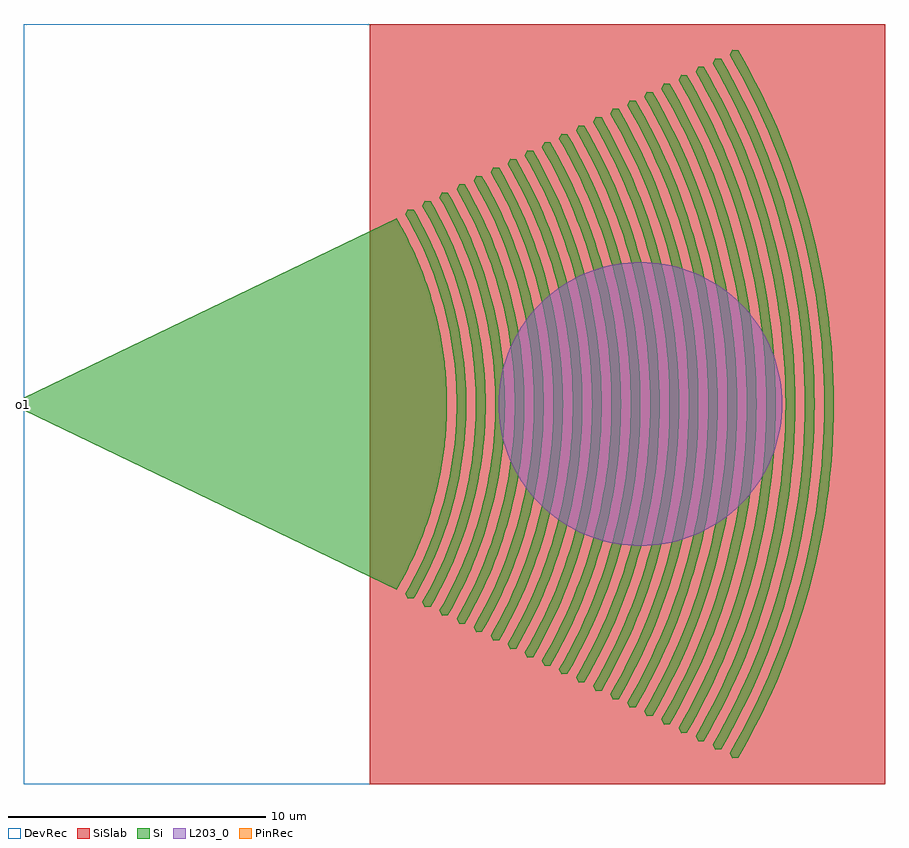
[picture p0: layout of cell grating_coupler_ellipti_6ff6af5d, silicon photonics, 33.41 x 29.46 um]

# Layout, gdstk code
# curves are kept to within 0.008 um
import gdstk
lib = gdstk.Library(unit=1e-6, precision=1e-09)
def R(c, l, rs):  # rectangles x0, y0, x1, y1
    for r in rs: c.add(gdstk.rectangle(r[:2], r[2:], *l))
def P(c, l, *ps):  # polygons
    for p in ps: c.add(gdstk.Polygon(p, *l))
Si = (1, 0)
PinRec = (1, 10)
SiSlab = (2, 0)
DevRec = (68, 0)
L203_0 = (203, 0)

circle_layerte_radius5p5 = lib.new_cell('circle_layerTE_radius5p5')
P(circle_layerte_radius5p5, L203_0, [(5.5,0),(5.495,0.24),(5.453,0.718),(5.37,1.19),(5.245,1.654),(5.081,2.105),(4.879,2.54),(4.639,2.955),(4.505,3.155),(4.213,3.535),(3.889,3.889),(3.535,4.213),(3.155,4.505),(2.955,4.639),(2.54,4.879),(2.105,5.081),(1.654,5.245),(1.19,5.37),(0.718,5.453),(0.24,5.495),(0,5.5),(-0.24,5.495),(-0.718,5.453),(-1.19,5.37),(-1.654,5.245),(-2.105,5.081),(-2.54,4.879),(-2.955,4.639),(-3.155,4.505),(-3.535,4.213),(-3.889,3.889),(-4.213,3.535),(-4.505,3.155),(-4.639,2.955),(-4.879,2.54),(-5.081,2.105),(-5.245,1.654),(-5.37,1.19),(-5.453,0.718),(-5.495,0.24),(-5.5,0),(-5.495,-0.24),(-5.453,-0.718),(-5.37,-1.19),(-5.245,-1.654),(-5.081,-2.105),(-4.879,-2.54),(-4.639,-2.955),(-4.505,-3.155),(-4.213,-3.535),(-3.889,-3.889),(-3.535,-4.213),(-3.155,-4.505),(-2.955,-4.639),(-2.54,-4.879),(-2.105,-5.081),(-1.654,-5.245),(-1.19,-5.37),(-0.718,-5.453),(-0.24,-5.495),(0,-5.5),(0.24,-5.495),(0.718,-5.453),(1.19,-5.37),(1.654,-5.245),(2.105,-5.081),(2.54,-4.879),(2.955,-4.639),(3.155,-4.505),(3.535,-4.213),(3.889,-3.889),(4.213,-3.535),(4.505,-3.155),(4.639,-2.955),(4.879,-2.54),(5.081,-2.105),(5.245,-1.654),(5.37,-1.19),(5.453,-0.718),(5.495,-0.24)])

grating_coupler_ellipti_ = lib.new_cell('grating_coupler_ellipti_6ff6af5d')
P(grating_coupler_ellipti_, Si, [(15.086,-7.552),(14.985,-7.35),(15.238,-6.899),(15.473,-6.443),(15.692,-5.978),(15.894,-5.505),(16.08,-5.027),(16.249,-4.541),(16.4,-4.051),(16.534,-3.555),(16.702,-2.804),(16.792,-2.299),(16.864,-1.791),(16.918,-1.28),(16.955,-0.769),(16.974,0),(16.955,0.769),(16.918,1.28),(16.864,1.791),(16.792,2.299),(16.702,2.804),(16.534,3.555),(16.4,4.051),(16.249,4.541),(16.08,5.027),(15.894,5.505),(15.692,5.978),(15.473,6.443),(15.238,6.899),(14.985,7.35),(15.086,7.552),(15.311,7.536),(15.691,6.844),(15.924,6.371),(16.242,5.647),(16.432,5.155),(16.685,4.407),(16.831,3.902),(16.96,3.392),(17.119,2.618),(17.202,2.098),(17.266,1.576),(17.313,1.051),(17.34,0.527),(17.35,0),(17.34,-0.527),(17.313,-1.051),(17.266,-1.576),(17.202,-2.098),(17.119,-2.618),(16.96,-3.392),(16.831,-3.902),(16.685,-4.407),(16.432,-5.155),(16.242,-5.647),(15.924,-6.371),(15.691,-6.844),(15.311,-7.536)],
  [(15.748,-7.877),(15.647,-7.675),(15.911,-7.205),(16.156,-6.728),(16.385,-6.242),(16.596,-5.749),(16.79,-5.249),(16.966,-4.743),(17.125,-4.23),(17.264,-3.713),(17.44,-2.928),(17.534,-2.4),(17.61,-1.87),(17.666,-1.338),(17.704,-0.803),(17.724,0),(17.704,0.803),(17.666,1.338),(17.61,1.87),(17.534,2.4),(17.44,2.928),(17.264,3.713),(17.125,4.23),(16.966,4.743),(16.79,5.249),(16.596,5.749),(16.385,6.242),(16.156,6.728),(15.911,7.205),(15.647,7.675),(15.748,7.877),(15.973,7.861),(16.241,7.383),(16.492,6.894),(16.727,6.396),(17.045,5.636),(17.235,5.119),(17.485,4.334),(17.628,3.805),(17.753,3.269),(17.859,2.731),(17.946,2.189),(18.013,1.644),(18.061,1.097),(18.09,0.549),(18.1,0),(18.09,-0.549),(18.061,-1.097),(18.013,-1.644),(17.946,-2.189),(17.859,-2.731),(17.753,-3.269),(17.628,-3.805),(17.485,-4.334),(17.235,-5.119),(17.045,-5.636),(16.727,-6.396),(16.492,-6.894),(16.241,-7.383),(15.973,-7.861)],
  [(16.41,-8.201),(16.309,-7.999),(16.584,-7.511),(16.84,-7.013),(17.078,-6.507),(17.298,-5.993),(17.5,-5.471),(17.684,-4.944),(17.849,-4.41),(17.995,-3.87),(18.178,-3.053),(18.276,-2.502),(18.355,-1.95),(18.436,-1.116),(18.466,-0.558),(18.475,0),(18.466,0.558),(18.436,1.116),(18.355,1.95),(18.276,2.502),(18.178,3.053),(17.995,3.87),(17.849,4.41),(17.684,4.944),(17.5,5.471),(17.298,5.993),(17.078,6.507),(16.84,7.013),(16.584,7.511),(16.309,7.999),(16.41,8.201),(16.635,8.187),(16.914,7.687),(17.176,7.179),(17.42,6.661),(17.752,5.869),(17.949,5.332),(18.209,4.514),(18.359,3.962),(18.488,3.405),(18.599,2.844),(18.689,2.28),(18.759,1.712),(18.81,1.142),(18.84,0.572),(18.851,0),(18.84,-0.572),(18.81,-1.142),(18.759,-1.712),(18.689,-2.28),(18.599,-2.844),(18.488,-3.405),(18.359,-3.962),(18.209,-4.514),(17.949,-5.332),(17.752,-5.869),(17.42,-6.661),(17.176,-7.179),(16.914,-7.687),(16.635,-8.187)],
  [(17.072,-8.528),(16.971,-8.326),(17.257,-7.816),(17.523,-7.298),(17.771,-6.771),(18,-6.236),(18.211,-5.694),(18.402,-5.145),(18.574,-4.589),(18.725,-4.027),(18.916,-3.177),(19.018,-2.604),(19.1,-2.029),(19.161,-1.45),(19.202,-0.871),(19.224,0),(19.202,0.871),(19.161,1.45),(19.1,2.029),(19.018,2.604),(18.916,3.177),(18.725,4.027),(18.574,4.589),(18.402,5.145),(18.211,5.694),(18,6.236),(17.771,6.771),(17.523,7.298),(17.257,7.816),(16.971,8.326),(17.072,8.528),(17.297,8.512),(17.587,7.994),(17.859,7.464),(18.233,6.653),(18.458,6.102),(18.663,5.543),(18.934,4.693),(19.089,4.119),(19.224,3.54),(19.339,2.957),(19.433,2.369),(19.505,1.78),(19.558,1.188),(19.589,0.595),(19.6,0),(19.589,-0.595),(19.558,-1.188),(19.505,-1.78),(19.433,-2.369),(19.339,-2.957),(19.224,-3.54),(19.089,-4.119),(18.934,-4.693),(18.663,-5.543),(18.458,-6.102),(18.233,-6.653),(17.859,-7.464),(17.587,-7.994),(17.297,-8.512)],
  [(17.734,-8.853),(17.633,-8.651),(17.93,-8.121),(18.207,-7.583),(18.464,-7.036),(18.702,-6.48),(18.921,-5.916),(19.12,-5.345),(19.298,-4.768),(19.456,-4.185),(19.654,-3.301),(19.76,-2.706),(19.845,-2.108),(19.908,-1.508),(19.951,-0.905),(19.974,0),(19.951,0.905),(19.908,1.508),(19.845,2.108),(19.76,2.706),(19.654,3.301),(19.456,4.185),(19.298,4.768),(19.12,5.345),(18.921,5.916),(18.702,6.48),(18.464,7.036),(18.207,7.583),(17.93,8.121),(17.633,8.651),(17.734,8.853),(17.959,8.837),(18.26,8.299),(18.543,7.749),(18.806,7.19),(19.164,6.335),(19.476,5.463),(19.658,4.872),(19.82,4.277),(19.959,3.675),(20.079,3.07),(20.177,2.46),(20.252,1.848),(20.306,1.233),(20.339,0.617),(20.35,0),(20.339,-0.617),(20.306,-1.233),(20.252,-1.848),(20.177,-2.46),(20.079,-3.07),(19.959,-3.675),(19.82,-4.277),(19.658,-4.872),(19.476,-5.463),(19.164,-6.335),(18.806,-7.19),(18.543,-7.749),(18.26,-8.299),(17.959,-8.837)],
  [(18.396,-9.178),(18.295,-8.976),(18.603,-8.426),(18.89,-7.868),(19.158,-7.301),(19.404,-6.724),(19.632,-6.139),(19.838,-5.546),(20.023,-4.948),(20.186,-4.342),(20.392,-3.425),(20.502,-2.807),(20.59,-2.188),(20.681,-1.252),(20.714,-0.626),(20.724,0),(20.714,0.626),(20.681,1.252),(20.59,2.188),(20.502,2.807),(20.392,3.425),(20.186,4.342),(20.023,4.948),(19.838,5.546),(19.632,6.139),(19.404,6.724),(19.158,7.301),(18.89,7.868),(18.603,8.426),(18.295,8.976),(18.396,9.178),(18.621,9.162),(19.083,8.321),(19.366,7.746),(19.752,6.866),(19.984,6.269),(20.194,5.664),(20.383,5.052),(20.55,4.434),(20.695,3.81),(20.819,3.183),(20.92,2.55),(20.998,1.916),(21.055,1.278),(21.088,0.64),(21.1,0),(21.088,-0.64),(21.055,-1.278),(20.998,-1.916),(20.92,-2.55),(20.819,-3.183),(20.695,-3.81),(20.55,-4.434),(20.383,-5.052),(20.194,-5.664),(19.984,-6.269),(19.752,-6.866),(19.366,-7.746),(19.083,-8.321),(18.621,-9.162)],
  [(19.058,-9.503),(18.957,-9.301),(19.276,-8.732),(19.574,-8.154),(19.851,-7.565),(20.107,-6.967),(20.342,-6.361),(20.556,-5.748),(20.747,-5.127),(20.917,-4.499),(21.13,-3.549),(21.244,-2.909),(21.335,-2.267),(21.403,-1.622),(21.449,-0.973),(21.474,0),(21.449,0.973),(21.403,1.622),(21.335,2.267),(21.244,2.909),(21.13,3.549),(20.917,4.499),(20.747,5.127),(20.556,5.748),(20.342,6.361),(20.107,6.967),(19.851,7.565),(19.574,8.154),(19.276,8.732),(18.957,9.301),(19.058,9.503),(19.283,9.487),(19.761,8.616),(20.054,8.021),(20.326,7.415),(20.577,6.801),(20.806,6.179),(21.107,5.231),(21.281,4.591),(21.431,3.945),(21.559,3.296),(21.664,2.641),(21.745,1.984),(21.803,1.324),(21.838,0.663),(21.85,0),(21.838,-0.663),(21.803,-1.324),(21.745,-1.984),(21.664,-2.641),(21.559,-3.296),(21.431,-3.945),(21.281,-4.591),(21.107,-5.231),(20.912,-5.864),(20.694,-6.491),(20.455,-7.109),(20.054,-8.021),(19.761,-8.616),(19.283,-9.487)],
  [(19.72,-9.829),(19.619,-9.627),(19.949,-9.037),(20.257,-8.439),(20.544,-7.83),(20.809,-7.211),(21.052,-6.584),(21.273,-5.948),(21.472,-5.306),(21.647,-4.657),(21.868,-3.673),(21.986,-3.011),(22.08,-2.346),(22.151,-1.677),(22.199,-1.007),(22.224,0),(22.199,1.007),(22.151,1.677),(22.08,2.346),(21.986,3.011),(21.868,3.673),(21.647,4.657),(21.472,5.306),(21.273,5.948),(21.052,6.584),(20.809,7.211),(20.544,7.83),(20.257,8.439),(19.949,9.037),(19.619,9.627),(19.72,9.829),(19.945,9.813),(20.439,8.911),(20.743,8.295),(21.157,7.353),(21.404,6.714),(21.629,6.066),(21.832,5.41),(22.011,4.749),(22.166,4.081),(22.299,3.409),(22.407,2.731),(22.491,2.052),(22.552,1.369),(22.588,0.685),(22.6,0),(22.588,-0.685),(22.552,-1.369),(22.491,-2.052),(22.407,-2.731),(22.299,-3.409),(22.166,-4.081),(22.011,-4.749),(21.832,-5.41),(21.629,-6.066),(21.404,-6.714),(21.157,-7.353),(20.743,-8.295),(20.439,-8.911),(19.945,-9.813)],
  [(20.382,-10.154),(20.281,-9.952),(20.622,-9.343),(20.941,-8.724),(21.237,-8.094),(21.511,-7.455),(21.763,-6.806),(21.991,-6.15),(22.196,-5.486),(22.378,-4.814),(22.606,-3.797),(22.728,-3.113),(22.825,-2.425),(22.898,-1.734),(22.948,-1.041),(22.974,0),(22.948,1.041),(22.898,1.734),(22.825,2.425),(22.728,3.113),(22.606,3.797),(22.378,4.814),(22.196,5.486),(21.991,6.15),(21.763,6.806),(21.511,7.455),(21.237,8.094),(20.941,8.724),(20.622,9.343),(20.281,9.952),(20.382,10.154),(20.607,10.138),(21.118,9.207),(21.431,8.57),(21.721,7.924),(21.99,7.268),(22.234,6.602),(22.556,5.59),(22.742,4.906),(22.902,4.217),(23.039,3.522),(23.151,2.822),(23.237,2.12),(23.3,1.414),(23.337,0.707),(23.35,0),(23.337,-0.707),(23.3,-1.414),(23.237,-2.12),(23.151,-2.822),(23.039,-3.522),(22.902,-4.217),(22.742,-4.906),(22.556,-5.59),(22.234,-6.602),(21.99,-7.268),(21.721,-7.924),(21.431,-8.57),(21.118,-9.207),(20.607,-10.138)],
  [(21.044,-10.479),(20.943,-10.277),(21.295,-9.648),(21.624,-9.009),(21.93,-8.359),(22.213,-7.699),(22.473,-7.029),(22.709,-6.35),(22.921,-5.665),(23.108,-4.972),(23.344,-3.921),(23.47,-3.215),(23.57,-2.505),(23.646,-1.792),(23.697,-1.075),(23.724,0),(23.697,1.075),(23.646,1.792),(23.57,2.505),(23.47,3.215),(23.344,3.921),(23.108,4.972),(22.921,5.665),(22.709,6.35),(22.473,7.029),(22.213,7.699),(21.93,8.359),(21.624,9.009),(21.295,9.648),(20.943,10.277),(21.044,10.479),(21.269,10.463),(21.796,9.502),(22.12,8.845),(22.419,8.178),(22.696,7.501),(23.065,6.468),(23.281,5.769),(23.472,5.064),(23.638,4.351),(23.779,3.635),(23.895,2.913),(23.984,2.188),(24.048,1.46),(24.087,0.73),(24.1,0),(24.087,-0.73),(24.048,-1.46),(23.984,-2.188),(23.895,-2.913),(23.779,-3.635),(23.638,-4.351),(23.472,-5.064),(23.281,-5.769),(23.065,-6.468),(22.696,-7.501),(22.419,-8.178),(22.12,-8.845),(21.796,-9.502),(21.269,-10.463)],
  [(21.706,-10.804),(21.605,-10.602),(21.968,-9.953),(22.308,-9.294),(22.624,-8.623),(22.915,-7.942),(23.183,-7.251),(23.427,-6.552),(23.645,-5.844),(23.839,-5.129),(24.082,-4.046),(24.211,-3.316),(24.315,-2.584),(24.393,-1.847),(24.446,-1.11),(24.474,0),(24.446,1.11),(24.393,1.847),(24.315,2.584),(24.211,3.316),(24.082,4.046),(23.839,5.129),(23.645,5.844),(23.427,6.552),(23.183,7.251),(22.915,7.942),(22.624,8.623),(22.308,9.294),(21.968,9.953),(21.605,10.602),(21.706,10.804),(21.931,10.788),(22.475,9.797),(22.808,9.12),(23.117,8.432),(23.402,7.734),(23.783,6.668),(24.005,5.948),(24.203,5.221),(24.373,4.486),(24.519,3.747),(24.638,3.003),(24.73,2.256),(24.797,1.505),(24.836,0.754),(24.85,0),(24.836,-0.754),(24.797,-1.505),(24.73,-2.256),(24.638,-3.003),(24.519,-3.747),(24.373,-4.486),(24.203,-5.221),(24.005,-5.948),(23.783,-6.668),(23.402,-7.734),(23.117,-8.432),(22.808,-9.12),(22.475,-9.797),(21.931,-10.788)],
  [(22.368,-11.13),(22.267,-10.928),(22.641,-10.259),(22.991,-9.579),(23.317,-8.888),(23.617,-8.186),(23.894,-7.474),(24.145,-6.753),(24.37,-6.023),(24.569,-5.286),(24.819,-4.17),(24.953,-3.418),(25.061,-2.663),(25.141,-1.905),(25.195,-1.144),(25.225,0),(25.195,1.144),(25.141,1.905),(25.061,2.663),(24.953,3.418),(24.819,4.17),(24.569,5.286),(24.37,6.023),(24.145,6.753),(23.894,7.474),(23.617,8.186),(23.317,8.888),(22.991,9.579),(22.641,10.259),(22.267,10.928),(22.368,11.13),(22.593,11.114),(23.153,10.093),(23.497,9.395),(23.965,8.328),(24.246,7.604),(24.501,6.869),(24.73,6.127),(24.933,5.378),(25.109,4.622),(25.259,3.86),(25.382,3.095),(25.477,2.324),(25.545,1.551),(25.586,0.776),(25.601,0),(25.586,-0.776),(25.545,-1.551),(25.477,-2.324),(25.382,-3.095),(25.259,-3.86),(25.109,-4.622),(24.933,-5.378),(24.73,-6.127),(24.501,-6.869),(24.246,-7.604),(23.965,-8.328),(23.497,-9.395),(23.153,-10.093),(22.593,-11.114)],
  [(23.03,-11.455),(22.929,-11.253),(23.315,-10.564),(23.675,-9.865),(24.01,-9.153),(24.319,-8.43),(24.604,-7.696),(24.863,-6.954),(25.095,-6.203),(25.3,-5.444),(25.557,-4.294),(25.695,-3.52),(25.806,-2.742),(25.92,-1.57),(25.962,-0.785),(25.975,0),(25.962,0.785),(25.92,1.57),(25.806,2.742),(25.695,3.52),(25.557,4.294),(25.3,5.444),(25.095,6.203),(24.863,6.954),(24.604,7.696),(24.319,8.43),(24.01,9.153),(23.675,9.865),(23.315,10.564),(22.929,11.253),(23.03,11.455),(23.255,11.439),(23.645,10.742),(24.185,9.67),(24.512,8.94),(24.815,8.2),(25.091,7.45),(25.455,6.307),(25.664,5.536),(25.845,4.757),(25.999,3.973),(26.125,3.184),(26.223,2.392),(26.294,1.596),(26.336,0.799),(26.351,0),(26.336,-0.799),(26.294,-1.596),(26.223,-2.392),(26.125,-3.184),(25.999,-3.973),(25.845,-4.757),(25.664,-5.536),(25.455,-6.307),(25.091,-7.45),(24.815,-8.2),(24.512,-8.94),(24.185,-9.67),(23.645,-10.742),(23.255,-11.439)],
  [(23.692,-11.78),(23.591,-11.578),(23.988,-10.87),(24.358,-10.15),(24.703,-9.417),(25.022,-8.673),(25.315,-7.919),(25.581,-7.155),(25.819,-6.382),(26.03,-5.601),(26.295,-4.418),(26.437,-3.622),(26.551,-2.822),(26.636,-2.017),(26.693,-1.212),(26.722,-0.404),(26.724,0),(26.722,0.404),(26.693,1.212),(26.636,2.017),(26.551,2.822),(26.437,3.622),(26.295,4.418),(26.03,5.601),(25.819,6.382),(25.581,7.155),(25.315,7.919),(25.022,8.673),(24.703,9.417),(24.358,10.15),(23.988,10.87),(23.591,11.578),(23.692,11.78),(23.917,11.764),(24.51,10.683),(24.873,9.945),(25.37,8.815),(25.667,8.049),(25.937,7.271),(26.179,6.486),(26.394,5.693),(26.58,4.892),(26.739,4.086),(26.869,3.275),(26.969,2.46),(27.042,1.641),(27.085,0.822),(27.1,0),(27.085,-0.822),(27.042,-1.641),(26.969,-2.46),(26.869,-3.275),(26.739,-4.086),(26.58,-4.892),(26.394,-5.693),(26.179,-6.486),(25.937,-7.271),(25.667,-8.049),(25.37,-8.815),(24.873,-9.945),(24.51,-10.683),(23.917,-11.764)],
  [(24.354,-12.105),(24.253,-11.903),(24.661,-11.175),(25.042,-10.435),(25.396,-9.682),(25.724,-8.917),(26.025,-8.141),(26.298,-7.355),(26.544,-6.561),(26.761,-5.758),(27.033,-4.542),(27.179,-3.723),(27.296,-2.901),(27.383,-2.075),(27.442,-1.246),(27.472,-0.416),(27.474,0),(27.472,0.416),(27.442,1.246),(27.383,2.075),(27.296,2.901),(27.179,3.723),(27.033,4.542),(26.761,5.758),(26.544,6.561),(26.298,7.355),(26.025,8.141),(25.724,8.917),(25.396,9.682),(25.042,10.435),(24.661,11.175),(24.253,11.903),(24.354,12.105),(24.579,12.089),(25.188,10.979),(25.562,10.22),(25.908,9.449),(26.228,8.666),(26.519,7.873),(26.904,6.665),(27.125,5.85),(27.316,5.027),(27.479,4.199),(27.613,3.365),(27.716,2.528),(27.79,1.687),(27.835,0.844),(27.85,0),(27.835,-0.844),(27.79,-1.687),(27.716,-2.528),(27.613,-3.365),(27.479,-4.199),(27.316,-5.027),(27.125,-5.85),(26.904,-6.665),(26.519,-7.873),(26.228,-8.666),(25.908,-9.449),(25.562,-10.22),(25.188,-10.979),(24.579,-12.089)],
  [(25.016,-12.431),(24.915,-12.229),(25.334,-11.48),(25.725,-10.72),(26.089,-9.946),(26.426,-9.161),(26.735,-8.364),(27.016,-7.556),(27.268,-6.741),(27.491,-5.916),(27.686,-5.085),(27.771,-4.666),(27.921,-3.825),(28.041,-2.98),(28.165,-1.706),(28.21,-0.853),(28.225,0),(28.21,0.853),(28.165,1.706),(28.041,2.98),(27.921,3.825),(27.771,4.666),(27.686,5.085),(27.491,5.916),(27.268,6.741),(27.016,7.556),(26.735,8.364),(26.426,9.161),(26.089,9.946),(25.725,10.72),(25.334,11.48),(24.915,12.229),(25.016,12.431),(25.241,12.415),(25.866,11.274),(26.25,10.495),(26.774,9.303),(27.087,8.494),(27.372,7.674),(27.628,6.845),(27.855,6.008),(28.052,5.163),(28.219,4.312),(28.356,3.456),(28.462,2.596),(28.539,1.732),(28.584,0.867),(28.601,0),(28.584,-0.867),(28.539,-1.732),(28.462,-2.596),(28.356,-3.456),(28.219,-4.312),(28.052,-5.163),(27.855,-6.008),(27.628,-6.845),(27.372,-7.674),(27.087,-8.494),(26.774,-9.303),(26.25,-10.495),(25.866,-11.274),(25.241,-12.415)],
  [(25.678,-12.756),(25.577,-12.554),(26.007,-11.786),(26.409,-11.005),(26.783,-10.211),(27.291,-8.997),(27.734,-7.758),(27.993,-6.92),(28.222,-6.073),(28.509,-4.79),(28.663,-3.927),(28.786,-3.06),(28.878,-2.189),(28.94,-1.314),(28.972,-0.438),(28.974,0),(28.972,0.438),(28.94,1.314),(28.878,2.189),(28.786,3.06),(28.663,3.927),(28.509,4.79),(28.222,6.073),(27.993,6.92),(27.734,7.758),(27.291,8.997),(26.783,10.211),(26.409,11.005),(26.007,11.786),(25.577,12.554),(25.678,12.756),(25.903,12.74),(26.545,11.569),(26.939,10.77),(27.303,9.957),(27.641,9.133),(27.948,8.297),(28.353,7.024),(28.586,6.165),(28.787,5.298),(28.959,4.425),(29.1,3.546),(29.209,2.664),(29.287,1.777),(29.334,0.89),(29.35,0),(29.334,-0.89),(29.287,-1.777),(29.209,-2.664),(29.1,-3.546),(28.959,-4.425),(28.787,-5.298),(28.586,-6.165),(28.353,-7.024),(27.948,-8.297),(27.641,-9.133),(27.303,-9.957),(26.939,-10.77),(26.545,-11.569),(25.903,-12.74)],
  [(26.34,-13.081),(26.239,-12.879),(26.68,-12.091),(27.092,-11.29),(27.476,-10.476),(27.997,-9.23),(28.308,-8.385),(28.452,-7.959),(28.717,-7.099),(28.952,-6.231),(29.157,-5.355),(29.247,-4.914),(29.405,-4.029),(29.531,-3.139),(29.626,-2.244),(29.69,-1.348),(29.722,-0.45),(29.725,0),(29.722,0.45),(29.69,1.348),(29.626,2.244),(29.531,3.139),(29.405,4.029),(29.247,4.914),(29.157,5.355),(28.952,6.231),(28.717,7.099),(28.452,7.959),(28.308,8.385),(27.997,9.23),(27.476,10.476),(27.092,11.29),(26.68,12.091),(26.239,12.879),(26.34,13.081),(26.565,13.065),(26.791,12.67),(27.223,11.865),(27.627,11.045),(28.001,10.211),(28.347,9.366),(28.662,8.509),(29.077,7.203),(29.316,6.323),(29.523,5.433),(29.699,4.538),(29.843,3.637),(29.955,2.732),(30.036,1.823),(30.084,0.912),(30.101,0),(30.084,-0.912),(30.036,-1.823),(29.955,-2.732),(29.843,-3.637),(29.699,-4.538),(29.523,-5.433),(29.316,-6.323),(29.077,-7.203),(28.662,-8.509),(28.347,-9.366),(28.001,-10.211),(27.627,-11.045),(27.223,-11.865),(26.791,-12.67),(26.565,-13.065)],
  [(27.002,-13.407),(26.901,-13.205),(27.353,-12.397),(27.568,-11.988),(27.976,-11.16),(28.355,-10.318),(28.703,-9.463),(29.022,-8.596),(29.31,-7.721),(29.442,-7.279),(29.683,-6.388),(29.985,-5.039),(30.147,-4.13),(30.276,-3.218),(30.373,-2.301),(30.439,-1.382),(30.459,-0.922),(30.475,0),(30.459,0.922),(30.439,1.382),(30.373,2.301),(30.276,3.218),(30.147,4.13),(29.985,5.039),(29.683,6.388),(29.442,7.279),(29.31,7.721),(29.022,8.596),(28.703,9.463),(28.355,10.318),(27.976,11.16),(27.568,11.988),(27.353,12.397),(26.901,13.205),(27.002,13.407),(27.227,13.391),(27.902,12.16),(28.316,11.32),(28.699,10.466),(29.053,9.599),(29.376,8.72),(29.526,8.277),(29.802,7.383),(30.047,6.48),(30.258,5.568),(30.439,4.651),(30.587,3.727),(30.701,2.8),(30.784,1.868),(30.833,0.934),(30.851,0),(30.833,-0.934),(30.784,-1.868),(30.701,-2.8),(30.587,-3.727),(30.439,-4.651),(30.258,-5.568),(30.047,-6.48),(29.802,-7.383),(29.526,-8.277),(29.376,-8.72),(29.053,-9.599),(28.699,-10.466),(28.316,-11.32),(27.902,-12.16),(27.227,-13.391)],
  [(27.663,-13.731),(27.562,-13.53),(28.026,-12.702),(28.459,-11.861),(29.053,-10.572),(29.41,-9.696),(29.736,-8.808),(30.031,-7.911),(30.294,-7.003),(30.413,-6.545),(30.628,-5.626),(30.723,-5.163),(30.889,-4.232),(31.021,-3.297),(31.121,-2.359),(31.188,-1.416),(31.221,-0.473),(31.224,0),(31.221,0.473),(31.188,1.416),(31.121,2.359),(31.021,3.297),(30.889,4.232),(30.723,5.163),(30.628,5.626),(30.413,6.545),(30.294,7.003),(30.031,7.911),(29.736,8.808),(29.41,9.696),(29.053,10.572),(28.459,11.861),(28.026,12.702),(27.562,13.53),(27.663,13.731),(27.888,13.716),(28.126,13.301),(28.58,12.455),(29.004,11.594),(29.397,10.72),(29.76,9.832),(29.929,9.384),(30.244,8.478),(30.526,7.562),(30.777,6.637),(30.994,5.704),(31.179,4.764),(31.331,3.818),(31.448,2.868),(31.532,1.914),(31.583,0.958),(31.6,0),(31.583,-0.958),(31.532,-1.914),(31.448,-2.868),(31.331,-3.818),(31.179,-4.764),(30.994,-5.704),(30.777,-6.637),(30.526,-7.562),(30.244,-8.478),(29.929,-9.384),(29.76,-9.832),(29.397,-10.72),(29.004,-11.594),(28.58,-12.455),(28.126,-13.301),(27.888,-13.716)],
  [(0.187,0.25),(0.187,-0.25),(14.652,-7.199),(15.015,-6.537),(15.343,-5.856),(15.634,-5.16),(15.888,-4.449),(16.137,-3.605),(16.282,-2.994),(16.401,-2.376),(16.507,-1.63),(16.565,-1.004),(16.595,-0.377),(16.598,0.251),(16.58,0.754),(16.545,1.255),(16.476,1.879),(16.401,2.376),(16.282,2.994),(16.137,3.605),(15.965,4.21),(15.808,4.688),(15.634,5.16),(15.444,5.626),(15.183,6.198),(14.957,6.648),(14.652,7.199)])
R(grating_coupler_ellipti_, SiSlab, [(13.6,-14.731,33.6,14.731)])
R(grating_coupler_ellipti_, DevRec, [(0.188,-14.731,33.6,14.731)])
grating_coupler_ellipti_.add(gdstk.FlexPath([(0.188,0),(0.186,0)], 0.5, ends="flush", simple_path=True, layer=1, datatype=10))  # PinRec
grating_coupler_ellipti_.add(gdstk.Reference(circle_layerte_radius5p5, (24.1,0)))
grating_coupler_ellipti_.add(gdstk.Label('o1', (0.187,0), layer=1, texttype=10))

lib.write_gds('grating_coupler_ellipti_6ff6af5d.gds')
